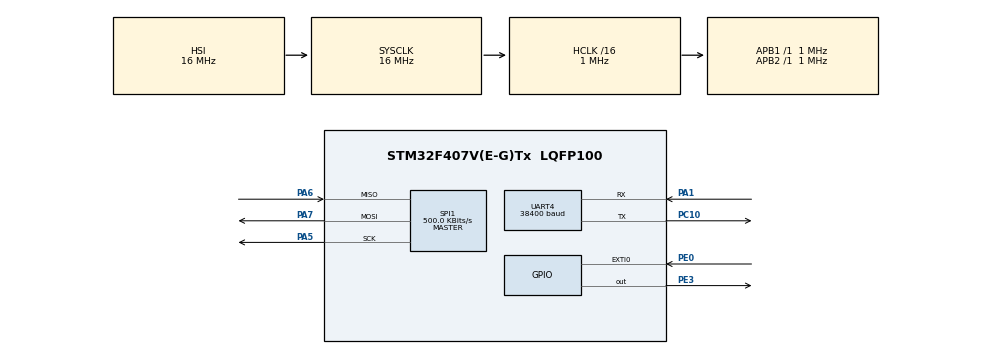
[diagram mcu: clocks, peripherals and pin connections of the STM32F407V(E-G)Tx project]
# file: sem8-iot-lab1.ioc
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Mcu.Family=STM32F4
Mcu.Name=STM32F407V(E-G)Tx
Mcu.Package=LQFP100
NVIC.EXTI0_IRQn=true\:0\:0\:true\:false\:true\:true\:true\:true
NVIC.PriorityGroup=NVIC_PRIORITYGROUP_4
NVIC.UART4_IRQn=true\:0\:0\:false\:false\:true\:true\:true\:true
PA1.Mode=Asynchronous
PA1.Signal=UART4_RX
PA5.Mode=Full_Duplex_Master
PA5.Signal=SPI1_SCK
PA6.Mode=Full_Duplex_Master
PA6.Signal=SPI1_MISO
PA7.Mode=Full_Duplex_Master
PA7.Signal=SPI1_MOSI
PC10.Mode=Asynchronous
PC10.Signal=UART4_TX
PE0.Signal=GPXTI0
PE3.Signal=GPIO_Output
ProjectManager.HeapSize=0x200
ProjectManager.StackSize=0x400
ProjectManager.TargetToolchain=STM32CubeIDE
RCC.AHBCLKDivider=RCC_SYSCLK_DIV16
RCC.AHBFreq_Value=1000000
RCC.APB1Freq_Value=1000000
RCC.APB1TimFreq_Value=1000000
RCC.APB2Freq_Value=1000000
RCC.APB2TimFreq_Value=1000000
RCC.CortexFreq_Value=1000000
RCC.HCLKFreq_Value=1000000
RCC.HSE_VALUE=25000000
RCC.HSI_VALUE=16000000
RCC.LSE_VALUE=32768
RCC.SYSCLKFreq_VALUE=16000000
RCC.VCOOutputFreq_Value=192000000
SPI1.BaudRatePrescaler=SPI_BAUDRATEPRESCALER_2
SPI1.CalculateBaudRate=500.0 KBits/s
SPI1.Direction=SPI_DIRECTION_2LINES
SPI1.Mode=SPI_MODE_MASTER
SPI1.VirtualType=VM_MASTER
UART4.BaudRate=38400
UART4.Mode=MODE_TX
UART4.VirtualMode=Asynchronous
board=custom

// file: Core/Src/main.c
/* USER CODE BEGIN Header */
/**
  ******************************************************************************
  * @file           : main.c
  * @brief          : Main program body
  ******************************************************************************
  * @attention
  *
  * Copyright (c) 2026 STMicroelectronics.
  * All rights reserved.
  *
  * This software is licensed under terms that can be found in the LICENSE file
  * in the root directory of this software component.
  * If no LICENSE file comes with this software, it is provided AS-IS.
  *
  ******************************************************************************
  */
/* USER CODE END Header */
#include "main.h"

/* USER CODE BEGIN Includes */
#include <string.h>
/* USER CODE END Includes */

SPI_HandleTypeDef hspi1;

UART_HandleTypeDef huart4;

/* USER CODE BEGIN PV */

static const uint8_t mems_config[] = {
	0x25, 0x10,
	0x24, 0x20,
	0x23, 0xE8,
	0x20, 0x67,
};

static uint8_t transmit_array[16];
static uint8_t spi_array[1];

/* USER CODE END PV */

void SystemClock_Config(void);
static void MX_GPIO_Init(void);
static void MX_UART4_Init(void);
static void MX_SPI1_Init(void);

/* USER CODE BEGIN 0 */
void HAL_GPIO_EXTI_Callback(uint16_t GPIO_Pin) {
	spi_array[0] = 0x80 | 0x28;
	HAL_GPIO_WritePin(GPIOE, GPIO_PIN_3, GPIO_PIN_RESET);
	HAL_SPI_Transmit(&hspi1, spi_array, 1, 10);
	HAL_SPI_Receive(&hspi1, transmit_array + 10, 6, 5);
	HAL_GPIO_WritePin(GPIOE, GPIO_PIN_3, GPIO_PIN_SET);

	{
		int f = 0;
		for (int i = 10; (!f) && (i < 16); f += 0xFF - transmit_array[i], i++);
		if (!f) transmit_array[10] = 0xFE;
	}

	HAL_UART_Transmit_IT(&huart4, transmit_array, 16);
}
/* USER CODE END 0 */

int main(void)
{

  /* MCU Configuration--------------------------------------------------------*/

  /* Reset of all peripherals, Initializes the Flash interface and the Systick. */
  HAL_Init();

  /* Configure the system clock */
  SystemClock_Config();

  /* Initialize all configured peripherals */
  MX_GPIO_Init();
  MX_UART4_Init();
  MX_SPI1_Init();
  /* USER CODE BEGIN 2 */

  memset(transmit_array, 0xFF, 10);

  HAL_GPIO_WritePin(GPIOE, GPIO_PIN_3, GPIO_PIN_SET);
  HAL_Delay(10);

  for (size_t i = 0; i < sizeof(mems_config); i += 2) {
	  HAL_GPIO_WritePin(GPIOE, GPIO_PIN_3, GPIO_PIN_RESET);
	  HAL_SPI_Transmit(&hspi1, &(mems_config[i]), 2, 10);
	  HAL_GPIO_WritePin(GPIOE, GPIO_PIN_3, GPIO_PIN_SET);
  }

  /* USER CODE END 2 */

  /* Infinite loop */
  /* USER CODE BEGIN WHILE */
  while (1)
  {
	  /*
	  spi_array[0] = 0x80 | 0x27;

	  HAL_GPIO_WritePin(GPIOE, GPIO_PIN_3, GPIO_PIN_RESET);
	  HAL_SPI_Transmit(&hspi1, spi_array, 1, 10);
	  HAL_SPI_Receive(&hspi1, spi_array, 1, 10);
	  HAL_GPIO_WritePin(GPIOE, GPIO_PIN_3, GPIO_PIN_SET);

	  if (spi_array[0] & 0x8) {

		  while (1);
	  }
	  */
	  __WFI();
    /* USER CODE END WHILE */

  }
}

void SystemClock_Config(void)
{
  RCC_OscInitTypeDef RCC_OscInitStruct = {0};
  RCC_ClkInitTypeDef RCC_ClkInitStruct = {0};

  /** Configure the main internal regulator output voltage
  */
  __HAL_RCC_PWR_CLK_ENABLE();
  __HAL_PWR_VOLTAGESCALING_CONFIG(PWR_REGULATOR_VOLTAGE_SCALE1);

  /** Initializes the RCC Oscillators according to the specified parameters
  * in the RCC_OscInitTypeDef structure.
  */
  RCC_OscInitStruct.OscillatorType = RCC_OSCILLATORTYPE_HSI;
  RCC_OscInitStruct.HSIState = RCC_HSI_ON;
  RCC_OscInitStruct.HSICalibrationValue = RCC_HSICALIBRATION_DEFAULT;
  RCC_OscInitStruct.PLL.PLLState = RCC_PLL_NONE;
  if (HAL_RCC_OscConfig(&RCC_OscInitStruct) != HAL_OK)
  {
    Error_Handler();
  }

  /** Initializes the CPU, AHB and APB buses clocks
  */
  RCC_ClkInitStruct.ClockType = RCC_CLOCKTYPE_HCLK|RCC_CLOCKTYPE_SYSCLK
                              |RCC_CLOCKTYPE_PCLK1|RCC_CLOCKTYPE_PCLK2;
  RCC_ClkInitStruct.SYSCLKSource = RCC_SYSCLKSOURCE_HSI;
  RCC_ClkInitStruct.AHBCLKDivider = RCC_SYSCLK_DIV16;
  RCC_ClkInitStruct.APB1CLKDivider = RCC_HCLK_DIV1;
  RCC_ClkInitStruct.APB2CLKDivider = RCC_HCLK_DIV1;

  if (HAL_RCC_ClockConfig(&RCC_ClkInitStruct, FLASH_LATENCY_0) != HAL_OK)
  {
    Error_Handler();
  }
}

static void MX_SPI1_Init(void)
{

  /* SPI1 parameter configuration*/
  hspi1.Instance = SPI1;
  hspi1.Init.Mode = SPI_MODE_MASTER;
  hspi1.Init.Direction = SPI_DIRECTION_2LINES;
  hspi1.Init.DataSize = SPI_DATASIZE_8BIT;
  hspi1.Init.CLKPolarity = SPI_POLARITY_LOW;
  hspi1.Init.CLKPhase = SPI_PHASE_1EDGE;
  hspi1.Init.NSS = SPI_NSS_SOFT;
  hspi1.Init.BaudRatePrescaler = SPI_BAUDRATEPRESCALER_2;
  hspi1.Init.FirstBit = SPI_FIRSTBIT_MSB;
  hspi1.Init.TIMode = SPI_TIMODE_DISABLE;
  hspi1.Init.CRCCalculation = SPI_CRCCALCULATION_DISABLE;
  hspi1.Init.CRCPolynomial = 10;
  if (HAL_SPI_Init(&hspi1) != HAL_OK)
  {
    Error_Handler();
  }

}

static void MX_UART4_Init(void)
{

  huart4.Instance = UART4;
  huart4.Init.BaudRate = 38400;
  huart4.Init.WordLength = UART_WORDLENGTH_8B;
  huart4.Init.StopBits = UART_STOPBITS_1;
  huart4.Init.Parity = UART_PARITY_NONE;
  huart4.Init.Mode = UART_MODE_TX;
  huart4.Init.HwFlowCtl = UART_HWCONTROL_NONE;
  huart4.Init.OverSampling = UART_OVERSAMPLING_16;
  if (HAL_UART_Init(&huart4) != HAL_OK)
  {
    Error_Handler();
  }

}

static void MX_GPIO_Init(void)
{
  GPIO_InitTypeDef GPIO_InitStruct = {0};

  /* GPIO Ports Clock Enable */
  __HAL_RCC_GPIOE_CLK_ENABLE();
  __HAL_RCC_GPIOA_CLK_ENABLE();
  __HAL_RCC_GPIOC_CLK_ENABLE();

  /*Configure GPIO pin Output Level */
  HAL_GPIO_WritePin(GPIOE, GPIO_PIN_3, GPIO_PIN_RESET);

  /*Configure GPIO pin : PE3 */
  GPIO_InitStruct.Pin = GPIO_PIN_3;
  GPIO_InitStruct.Mode = GPIO_MODE_OUTPUT_PP;
  GPIO_InitStruct.Pull = GPIO_NOPULL;
  GPIO_InitStruct.Speed = GPIO_SPEED_FREQ_LOW;
  HAL_GPIO_Init(GPIOE, &GPIO_InitStruct);

  /*Configure GPIO pin : PE0 */
  GPIO_InitStruct.Pin = GPIO_PIN_0;
  GPIO_InitStruct.Mode = GPIO_MODE_IT_RISING;
  GPIO_InitStruct.Pull = GPIO_NOPULL;
  HAL_GPIO_Init(GPIOE, &GPIO_InitStruct);

  /* EXTI interrupt init*/
  HAL_NVIC_SetPriority(EXTI0_IRQn, 0, 0);
  HAL_NVIC_EnableIRQ(EXTI0_IRQn);

}

void Error_Handler(void)
{
  __disable_irq();
  while (1)
  {
  }
}
